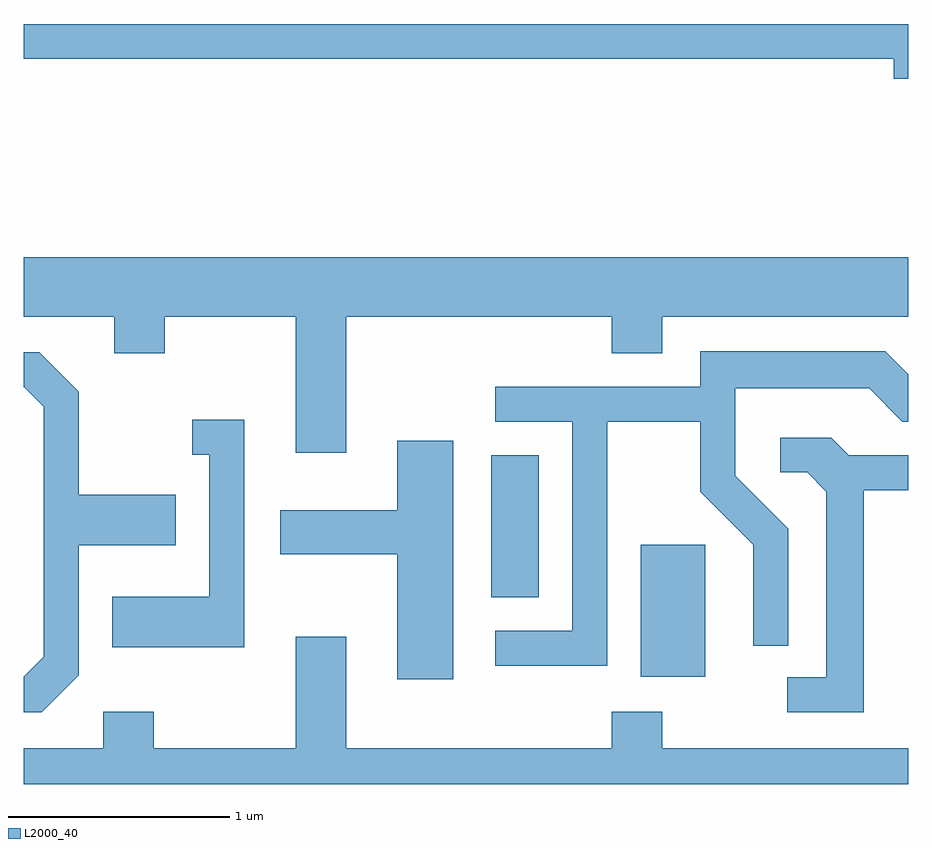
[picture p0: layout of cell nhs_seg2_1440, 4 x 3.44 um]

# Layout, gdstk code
import gdstk
lib = gdstk.Library(unit=1e-6, precision=1e-09)
def R(c, l, rs):  # rectangles x0, y0, x1, y1
    for r in rs: c.add(gdstk.rectangle(r[:2], r[2:], *l))
def P(c, l, *ps):  # polygons
    for p in ps: c.add(gdstk.Polygon(p, *l))
L2000_40 = (2000, 40)

nhs_seg2_1440 = lib.new_cell('nhs_seg2_1440')
R(nhs_seg2_1440, L2000_40, [(230.401,1002.286,230.694,1002.884), (229.726,1002.646,229.939,1003.289)])
P(nhs_seg2_1440, L2000_40, [(231.611,1005.239),(227.611,1005.239),(227.611,1005.081),(231.546,1005.081),(231.546,1004.991),(231.611,1004.991)],
  [(227.611,1003.916),(228.021,1003.916),(228.021,1003.751),(228.249,1003.751),(228.249,1003.916),(228.841,1003.916),(228.841,1003.301),(229.069,1003.301),(229.069,1003.916),(230.271,1003.916),(230.271,1003.751),(230.499,1003.751),(230.499,1003.916),(231.611,1003.916),(231.611,1004.184),(227.611,1004.184)],
  [(230.249,1003.441),(230.671,1003.441),(230.671,1003.124),(230.911,1002.884),(230.911,1002.428),(231.069,1002.428),(231.069,1002.957),(230.829,1003.197),(230.829,1003.591),(231.434,1003.591),(231.584,1003.441),(231.611,1003.441),(231.611,1003.655),(231.507,1003.759),(230.671,1003.759),(230.671,1003.599),(229.743,1003.599),(229.743,1003.441),(230.091,1003.441),(230.091,1002.494),(229.743,1002.494),(229.743,1002.336),(230.249,1002.336)],
  [(227.859,1002.294),(227.859,1002.881),(228.299,1002.881),(228.299,1003.109),(227.859,1003.109),(227.859,1003.577),(227.682,1003.754),(227.611,1003.754),(227.611,1003.596),(227.614,1003.596),(227.701,1003.509),(227.701,1002.377),(227.611,1002.286),(227.611,1002.126),(227.692,1002.126)],
  [(228.609,1003.449),(228.373,1003.449),(228.373,1003.291),(228.451,1003.291),(228.451,1002.649),(228.011,1002.649),(228.011,1002.421),(228.609,1002.421)],
  [(231.409,1003.131),(231.611,1003.131),(231.611,1003.289),(231.342,1003.289),(231.262,1003.369),(231.033,1003.369),(231.033,1003.211),(231.154,1003.211),(231.241,1003.124),(231.241,1002.284),(231.063,1002.284),(231.063,1002.126),(231.409,1002.126)],
  [(229.554,1003.354),(229.301,1003.354),(229.301,1003.039),(228.771,1003.039),(228.771,1002.841),(229.301,1002.841),(229.301,1002.276),(229.554,1002.276)],
  [(231.611,1001.964),(230.499,1001.964),(230.499,1002.129),(230.271,1002.129),(230.271,1001.964),(229.069,1001.964),(229.069,1002.469),(228.841,1002.469),(228.841,1001.964),(228.199,1001.964),(228.199,1002.129),(227.971,1002.129),(227.971,1001.964),(227.611,1001.964),(227.611,1001.802),(231.611,1001.802)])

lib.write_gds('nhs_seg2_1440.gds')
